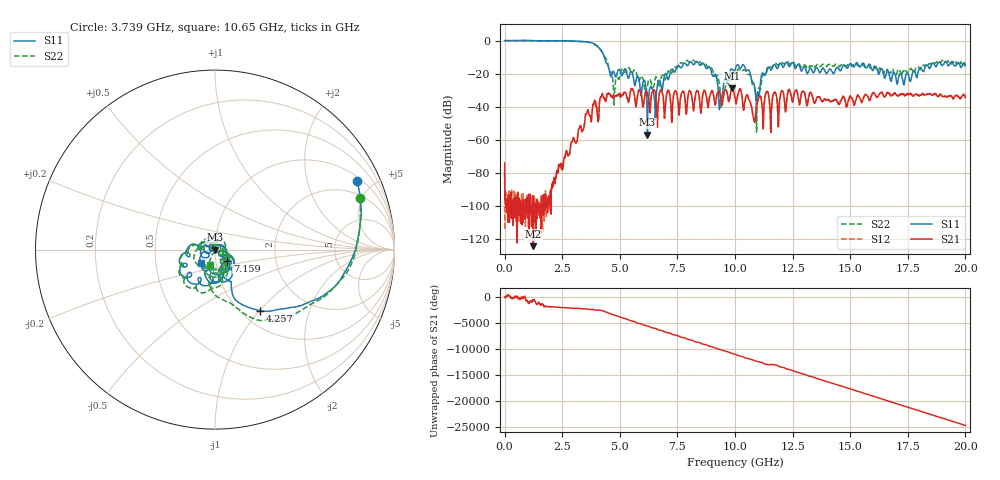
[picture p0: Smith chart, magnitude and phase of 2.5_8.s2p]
#  HZ  S  RI  R  50.00
! Rohde & Schwarz Vector Network Analyzer
! Rohde-Schwarz,ZNB20-2Port,1311601062102128,3.60
! Created: UTC 4/29/2024, 2:52:44 PM
! freq[Hz]  re:S11  im:S11  re:S21  im:S21  re:S12  im:S12  re:S22  im:S22
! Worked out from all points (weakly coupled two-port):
!   2007 points, 100 kHz to 20 GHz, reference 50 ohm
!   highest |S21| = -28.92 dB at 9.89 GHz (marker M1); lowest = -124.3 dB at 1.246 GHz (marker M2)
!   lowest |S11| = -56.8 dB at 6.201 GHz (marker M3), VSWR 1.00, Z = 49.9 - j0.0439 ohm
!   |S11| at or under -10 dB: 4.329 GHz to end of sweep
!   |S22| runs from -55.3 to 0.1 dB; largest |S21 - S12| = 0.002
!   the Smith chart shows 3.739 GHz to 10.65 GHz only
!   S11 on the Smith chart (normalised r, x): 3.739 GHz: 1.21, +4.03; 4.257 GHz: 1.22, -1.01; 7.159 GHz: 1.14, -0.14; 10.65 GHz: 0.85, -0.13
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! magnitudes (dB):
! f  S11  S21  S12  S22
! 100 kHz  0.0  -73.9  -80.4  0.1
! 1.246 GHz  0.0  -124.3  -103.9  -0.1
! 2.223 GHz  -0.1  -82.3  -83.7  -0.3
! 3.34 GHz  -0.6  -54.3  -53.9  -0.6
! 3.739 GHz  -1.1  -47.6  -47.3  -1.3
! 4.257 GHz  -7.5  -33.0  -32.6  -7.6
! 4.766 GHz  -19.8  -33.4  -33.4  -32.7
! 5.374 GHz  -22.9  -37.4  -37.4  -16.3
! 6.201 GHz  -56.8  -32.4  -32.4  -27.4
! 6.67 GHz  -24.5  -37.8  -37.9  -25.7
! 7.159 GHz  -20.8  -32.1  -32.1  -19.2
! 8.614 GHz  -13.6  -31.7  -31.6  -14.3
! 9.372 GHz  -35.8  -33.7  -33.7  -33.6
! 9.89 GHz  -17.4  -28.9  -28.9  -19.5
! 10 GHz  -17.9  -34.5  -34.5  -20.4
! 10.65 GHz  -19.4  -37.0  -37.1  -20.9
! 10.83 GHz  -26.1  -48.2  -48.2  -27.8
! 10.97 GHz  -32.0  -37.8  -37.8  -33.7
! 11.71 GHz  -14.5  -31.5  -31.5  -14.0
! 13.34 GHz  -18.0  -32.7  -32.7  -15.3
! 16.67 GHz  -19.1  -31.8  -31.8  -20.5
! 20 GHz  -14.6  -34.4  -34.6  -14.3
